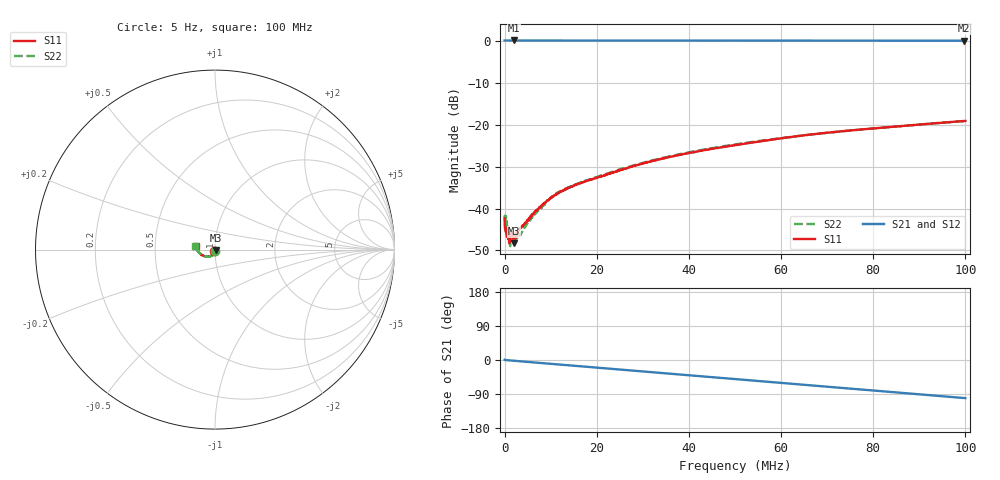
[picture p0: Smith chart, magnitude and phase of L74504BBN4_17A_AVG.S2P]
!Agilent Technologies,E5061B,MY49102235,A.02.00
!Date: Tue Jul 11 16:41:47 2023
!Data & Calibration Information:
!Freq	S11:SOLT2(ON)	S21:SOLT2(ON)	S12:SOLT2(ON)	S22:SOLT2(ON)
# Hz S RI R 50
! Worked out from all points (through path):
!   1600 points, 5 Hz to 100 MHz, reference 50 ohm
!   highest |S21| = 0.02 dB at 2.001 MHz (marker M1); lowest = 0.0 dB at 99.75 MHz (marker M2)
!   group delay of S21, straight-line fit = 2.8 ns
!   lowest |S11| = -48.3 dB at 1.939 MHz (marker M3), VSWR 1.01, Z = 50.3 - j0.224 ohm
!   |S11| at or under -10 dB: start of sweep to end of sweep
!   |S22| runs from -49.0 to -19.2 dB; largest |S21 - S12| = 0.0026
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5  -0.0052 -0.00565  1.002 0.00799  1 0.0103  -0.00158 -0.00756
437778.6  0.00515 -0.00056  1.001 -0.00546  1.001 -0.00608  0.00661 -0.00221
625395.8  0.00508 -0.000611  1.002 -0.0104  1.002 -0.00995  0.0061 -0.00099
938091.3  0.00435 -0.000353  1.001 -0.015  1.001 -0.0147  0.00592 -0.000921
1500943  0.00438 -0.00242  1.001 -0.0251  1.002 -0.0249  0.00304 -0.00357
1938717  0.00314 -0.00223  1.002 -0.0337  1.001 -0.0332  0.00344 -0.00197
2001256  0.00304 -0.00271  1.002 -0.0351  1.001 -0.0347  0.00318 -0.00244
2376490  0.00333 -0.00287  0.9997 -0.0414  1 -0.0417  0.00397 -0.00254
3252037  0.00426 -0.00401  0.9994 -0.0569  0.9992 -0.0568  0.00319 -0.00353
6003757  0.00336 -0.00755  0.9954 -0.1051  0.9955 -0.1049  0.00296 -0.00739
9505946  0.00154 -0.0126  0.987 -0.1664  0.9872 -0.1661  0.000989 -0.0126
1.156974e7  7.56e-05 -0.0153  0.9805 -0.2019  0.9802 -0.2016  -0.00075 -0.0155
1.669794e7  -0.00366 -0.02  0.9577 -0.2892  0.9577 -0.2889  -0.00399 -0.0201
2.582865e7  -0.0106 -0.0274  0.8993 -0.4385  0.8992 -0.4383  -0.00854 -0.0288
3.333334e7  -0.0192 -0.0331  0.8334 -0.5528  0.8333 -0.5525  -0.0178 -0.0345
4.033771e7  -0.0282 -0.0367  0.7589 -0.6505  0.7589 -0.6502  -0.0278 -0.038
5.003127e7  -0.0419 -0.0382  0.6374 -0.7696  0.6374 -0.7694  -0.0422 -0.0396
6.672921e7  -0.0696 -0.0319  0.3869 -0.9197  0.3872 -0.9198  -0.0689 -0.0324
7.53596e7  -0.0824 -0.0227  0.2436 -0.9667  0.2438 -0.9666  -0.0817 -0.0237
8.33646e7  -0.0925 -0.0107  0.1059 -0.9908  0.1059 -0.9909  -0.0921 -0.0127
9.974984e7  -0.1084 0.0199  -0.1794 -0.978  -0.1791 -0.9783  -0.1084 0.0168
1e8  -0.1086 0.0204  -0.1837 -0.9774  -0.1835 -0.9776  -0.1087 0.0174
